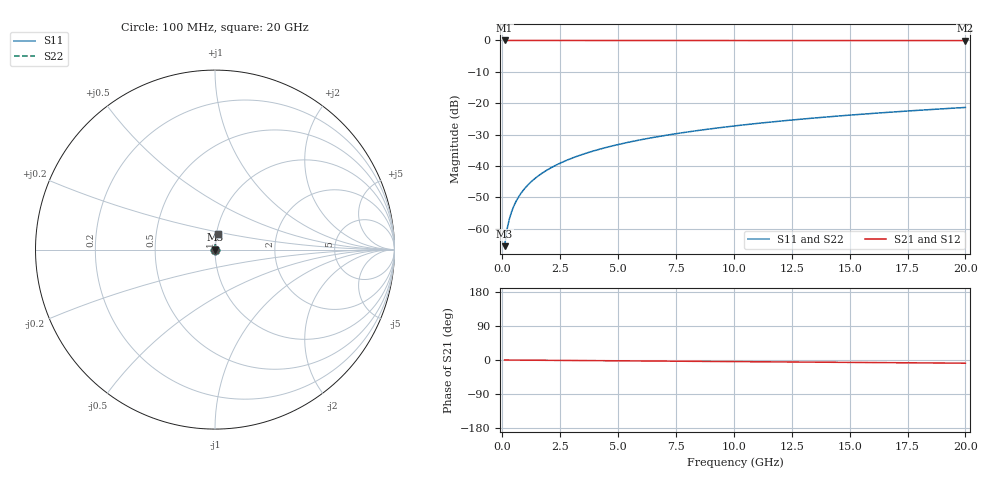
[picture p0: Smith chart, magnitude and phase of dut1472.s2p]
! Touchstone file exported from HFSS 2026.1.0
!  File:  C:/ffzhzh/LocalFiles/Ansys_Project_Files/temp_train_TSV_1472_1783198380_43440.aedt
!  Generated:  04:55:18 AM Jul  5, 2026
!  Design:  TSV
!  Project:  temp_train_TSV_1472_1783198380_43440
! Variables:
!  h_bsmrdl = 2um
!  h_ox = 20um
!  h_rdl = 5um
!  h_sub = 58.84um
!  h_tmrdl = 5um
!  h_tsv = 58.84um
!  h_via = 3um
!  l_bsmrdl = 300um
!  l_sub = 411.08um
!  l_tmrdl = 200um
!  m_sub = 200um
!  pitch = 59.18um
!  r_tsv = 5.54um
!  s_tmrdl = 10um
!  w_bsmrdl = 18um
!  w_sub = 500um
!  w_tmrdl = 12um
!  x_tsv_center1 = 206um
!  x_tsv_center2 = 524um
!  x_tsv_center3 = 736um
!  x_tsv_center4 = 1054um
!  x_tsv_center5 = 1266um
!  x_tsv_center6 = 1584um
# GHz S MA R 50.000000
! Terminal data exported
! Port[1] = TSV1_1_T1
! Port[2] = TSV1_1_T2
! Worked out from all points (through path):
!   200 points, 100 MHz to 20 GHz, reference 50 ohm
!   highest |S21| = 0.00 dB at 100 MHz (marker M1); lowest = 0.0 dB at 20 GHz (marker M2)
!   group delay of S21, straight-line fit = 1.16 ps
!   lowest |S11| = -65.5 dB at 100 MHz (marker M3), VSWR 1.00, Z = 50 + j0.0465 ohm
!   |S11| at or under -10 dB: start of sweep to end of sweep
!   |S22| runs from -65.5 to -21.3 dB; largest |S21 - S12| = 2.3e-15
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0.1  0.0005292 61.4  0.9997 -0.0  0.9997 -0.0  0.0005292 61.4
! Gamma 0 0 0 0
! Port Impedance 50 0 50 0
0.2  0.0009635 74.2  0.9997 -0.1  0.9997 -0.1  0.0009635 74.2
0.3  0.001413 78.7  0.9997 -0.1  0.9997 -0.1  0.001413 78.7
0.4  0.001864 81.0  0.9997 -0.2  0.9997 -0.2  0.001864 81.0
0.5  0.002313 82.3  0.9997 -0.2  0.9997 -0.2  0.002313 82.3
0.6  0.00276 83.1  0.9997 -0.3  0.9997 -0.3  0.00276 83.1
0.7  0.003205 83.8  0.9997 -0.3  0.9997 -0.3  0.003205 83.8
0.8  0.003649 84.2  0.9996 -0.3  0.9996 -0.3  0.003649 84.2
1  0.004532 84.9  0.9996 -0.4  0.9996 -0.4  0.004532 84.9
1.4  0.006294 85.7  0.9996 -0.6  0.9996 -0.6  0.006294 85.7
1.7  0.007613 86.0  0.9995 -0.7  0.9995 -0.7  0.007613 86.0
2  0.00893 86.1  0.9995 -0.9  0.9995 -0.9  0.00893 86.1
2.7  0.012 86.3  0.9994 -1.2  0.9994 -1.2  0.012 86.3
3.5  0.01548 86.3  0.9993 -1.5  0.9993 -1.5  0.01548 86.3
4.2  0.01852 86.1  0.9992 -1.8  0.9992 -1.8  0.01852 86.1
5  0.02198 85.9  0.999 -2.1  0.999 -2.1  0.02198 85.9
6.8  0.02972 85.4  0.9987 -2.9  0.9987 -2.9  0.02972 85.4
8.3  0.03615 85.0  0.9984 -3.5  0.9984 -3.5  0.03615 85.0
10.1  0.04384 84.3  0.998 -4.3  0.998 -4.3  0.04384 84.3
13.4  0.05788 83.2  0.9971 -5.6  0.9971 -5.6  0.05788 83.2
16.7  0.07184 81.9  0.9961 -7.0  0.9961 -7.0  0.07184 81.9
20  0.08569 80.6  0.9948 -8.4  0.9948 -8.4  0.08569 80.6
